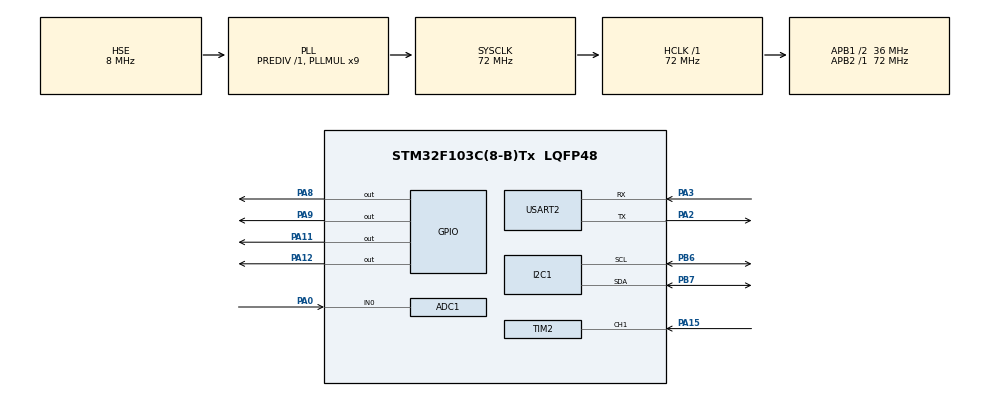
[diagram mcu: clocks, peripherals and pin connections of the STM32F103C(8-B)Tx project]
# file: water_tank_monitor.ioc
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ADC1.Channel-0\#ChannelRegularConversion=ADC_CHANNEL_0
ADC1.NbrOfConversionFlag=1
ADC1.Rank-0\#ChannelRegularConversion=1
ADC1.SamplingTime-0\#ChannelRegularConversion=ADC_SAMPLETIME_239CYCLES_5
ADC1.master=1
Mcu.Family=STM32F1
Mcu.Name=STM32F103C(8-B)Tx
Mcu.Package=LQFP48
NVIC.ADC1_2_IRQn=true\:0\:0\:false\:false\:true\:true\:true\:true
NVIC.PriorityGroup=NVIC_PRIORITYGROUP_4
NVIC.TIM2_IRQn=true\:0\:0\:false\:false\:true\:true\:true\:true
PA0-WKUP.Signal=ADCx_IN0
PA11.Signal=GPIO_Output
PA12.Signal=GPIO_Output
PA13.Mode=Serial_Wire
PA13.Signal=SYS_JTMS-SWDIO
PA14.Mode=Serial_Wire
PA14.Signal=SYS_JTCK-SWCLK
PA15.Signal=S_TIM2_CH1_ETR
PA2.Mode=Asynchronous
PA2.Signal=USART2_TX
PA3.Mode=Asynchronous
PA3.Signal=USART2_RX
PA8.Signal=GPIO_Output
PA9.Signal=GPIO_Output
PB6.Mode=I2C
PB6.Signal=I2C1_SCL
PB7.Mode=I2C
PB7.Signal=I2C1_SDA
PD0-OSC_IN.Mode=HSE-External-Oscillator
PD0-OSC_IN.Signal=RCC_OSC_IN
PD1-OSC_OUT.Mode=HSE-External-Oscillator
PD1-OSC_OUT.Signal=RCC_OSC_OUT
ProjectManager.HeapSize=0x200
ProjectManager.StackSize=0x400
ProjectManager.TargetToolchain=CMake
RCC.ADCPresc=RCC_ADCPCLK2_DIV6
RCC.AHBFreq_Value=72000000
RCC.APB1CLKDivider=RCC_HCLK_DIV2
RCC.APB1Freq_Value=36000000
RCC.APB1TimFreq_Value=72000000
RCC.APB2Freq_Value=72000000
RCC.APB2TimFreq_Value=72000000
RCC.HCLKFreq_Value=72000000
RCC.PLLMUL=RCC_PLL_MUL9
RCC.PLLSourceVirtual=RCC_PLLSOURCE_HSE
RCC.SYSCLKFreq_VALUE=72000000
RCC.SYSCLKSource=RCC_SYSCLKSOURCE_PLLCLK
RCC.USBFreq_Value=72000000
SH.ADCx_IN0.0=ADC1_IN0,IN0
SH.S_TIM2_CH1_ETR.0=TIM2_CH1,Input_Capture1_from_TI1
TIM2.Channel-Input_Capture1_from_TI1=TIM_CHANNEL_1
TIM2.Prescaler=71
USART2.VirtualMode=VM_ASYNC
VP_TIM2_VS_ClockSourceINT.Mode=Internal
board=custom

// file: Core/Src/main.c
/* USER CODE BEGIN Header */
/**
  ******************************************************************************
  * @file           : main.c
  * @brief          : Main program body
  ******************************************************************************
  * @attention
  *
  * Copyright (c) 2026 STMicroelectronics.
  * All rights reserved.
  *
  * This software is licensed under terms that can be found in the LICENSE file
  * in the root directory of this software component.
  * If no LICENSE file comes with this software, it is provided AS-IS.
  *
  ******************************************************************************
  */
/* USER CODE END Header */
#include "main.h"
#include "adc.h"
#include "i2c.h"
#include "tim.h"
#include "usart.h"
#include "gpio.h"

#include "ultrasonic.h"

#include <stdio.h>
#include <string.h>

/* USER CODE BEGIN PV */
static char tx_buffer[128];

/* USER CODE END PV */

void SystemClock_Config(void);

/* USER CODE BEGIN 0 */
static void UART_SendString(
    const char *str
)
{
    HAL_UART_Transmit(
        &huart2,
        (uint8_t *)str,
        (uint16_t)strlen(str),
        100U
    );
}
/* USER CODE END 0 */

int main(void)
{

  /* MCU Configuration--------------------------------------------------------*/

  /* Reset of all peripherals, Initializes the Flash interface and the Systick. */
  HAL_Init();

  /* Configure the system clock */
  SystemClock_Config();

  /* Initialize all configured peripherals */
  MX_GPIO_Init();
  MX_ADC1_Init();
  MX_I2C1_Init();
  MX_TIM2_Init();
  MX_USART2_UART_Init();
  /* USER CODE BEGIN 2 */
  UART_SendString(
      "\r\n"
      "===============================\r\n"
      " HC-SR04 TEST\r\n"
      " TIM2 Input Capture\r\n"
      " USART2 115200\r\n"
      "===============================\r\n"
  );

  /*
  * PA8 = TRIG
  * PA15 = ECHO / TIM2_CH1
  */
  Ultrasonic_Init(
      &htim2,
      TIM_CHANNEL_1,
      GPIOA,
      GPIO_PIN_8
  );

  UART_SendString(
      "Ultrasonic init OK\r\n"
  );
  /* USER CODE END 2 */

  /* Infinite loop */
  /* USER CODE BEGIN WHILE */
  while (1)
  {
      bool started =
          Ultrasonic_Start();

      if (!started)
      {
          UART_SendString(
              "ERROR: Sensor busy\r\n"
          );

          HAL_Delay(100);

          continue;
      }

      uint32_t start =
          HAL_GetTick();

      while (!Ultrasonic_IsReady())
      {
          if ((HAL_GetTick() - start)
              >= 50U)
          {
              break;
          }
      }

      /*
      * Timeout
      */
      if (!Ultrasonic_IsReady())
      {
          Ultrasonic_Abort();

          UART_SendString(
              "ERROR: Echo timeout\r\n"
          );
      }

      /*
      * Invalid measurement
      */
      else if (!Ultrasonic_IsValid())
      {
          UART_SendString(
              "WARNING: Invalid distance\r\n"
          );
      }

      /*
      * Measurement OK
      */
      else
      {
          uint32_t distance_mm =
              Ultrasonic_GetDistanceMm();

          uint32_t pulse_us =
              Ultrasonic_GetPulseWidthUs();

          uint32_t cm =
              distance_mm / 10U;

          uint32_t decimal =
              distance_mm % 10U;

          int len =
              snprintf(
                  tx_buffer,
                  sizeof(tx_buffer),

                  "Pulse=%lu us | Distance=%lu.%lu cm\r\n",

                  (unsigned long)pulse_us,

                  (unsigned long)cm,

                  (unsigned long)decimal
              );

          if (len > 0)
          {
              HAL_UART_Transmit(
                  &huart2,
                  (uint8_t *)tx_buffer,
                  (uint16_t)len,
                  100U
              );
          }
      }

      HAL_Delay(100);
  }

  /* USER CODE END 3 */
}

void SystemClock_Config(void)
{
  RCC_OscInitTypeDef RCC_OscInitStruct = {0};
  RCC_ClkInitTypeDef RCC_ClkInitStruct = {0};
  RCC_PeriphCLKInitTypeDef PeriphClkInit = {0};

  /** Initializes the RCC Oscillators according to the specified parameters
  * in the RCC_OscInitTypeDef structure.
  */
  RCC_OscInitStruct.OscillatorType = RCC_OSCILLATORTYPE_HSE;
  RCC_OscInitStruct.HSEState = RCC_HSE_ON;
  RCC_OscInitStruct.HSEPredivValue = RCC_HSE_PREDIV_DIV1;
  RCC_OscInitStruct.HSIState = RCC_HSI_ON;
  RCC_OscInitStruct.PLL.PLLState = RCC_PLL_ON;
  RCC_OscInitStruct.PLL.PLLSource = RCC_PLLSOURCE_HSE;
  RCC_OscInitStruct.PLL.PLLMUL = RCC_PLL_MUL9;
  if (HAL_RCC_OscConfig(&RCC_OscInitStruct) != HAL_OK)
  {
    Error_Handler();
  }

  /** Initializes the CPU, AHB and APB buses clocks
  */
  RCC_ClkInitStruct.ClockType = RCC_CLOCKTYPE_HCLK|RCC_CLOCKTYPE_SYSCLK
                              |RCC_CLOCKTYPE_PCLK1|RCC_CLOCKTYPE_PCLK2;
  RCC_ClkInitStruct.SYSCLKSource = RCC_SYSCLKSOURCE_PLLCLK;
  RCC_ClkInitStruct.AHBCLKDivider = RCC_SYSCLK_DIV1;
  RCC_ClkInitStruct.APB1CLKDivider = RCC_HCLK_DIV2;
  RCC_ClkInitStruct.APB2CLKDivider = RCC_HCLK_DIV1;

  if (HAL_RCC_ClockConfig(&RCC_ClkInitStruct, FLASH_LATENCY_2) != HAL_OK)
  {
    Error_Handler();
  }
  PeriphClkInit.PeriphClockSelection = RCC_PERIPHCLK_ADC;
  PeriphClkInit.AdcClockSelection = RCC_ADCPCLK2_DIV6;
  if (HAL_RCCEx_PeriphCLKConfig(&PeriphClkInit) != HAL_OK)
  {
    Error_Handler();
  }
}

/* USER CODE BEGIN 4 */
void HAL_TIM_IC_CaptureCallback(
    TIM_HandleTypeDef *htim
)
{
    Ultrasonic_IC_CaptureCallback(
        htim
    );
}
/* USER CODE END 4 */

void Error_Handler(void)
{
  __disable_irq();
  while (1)
  {
  }
}
